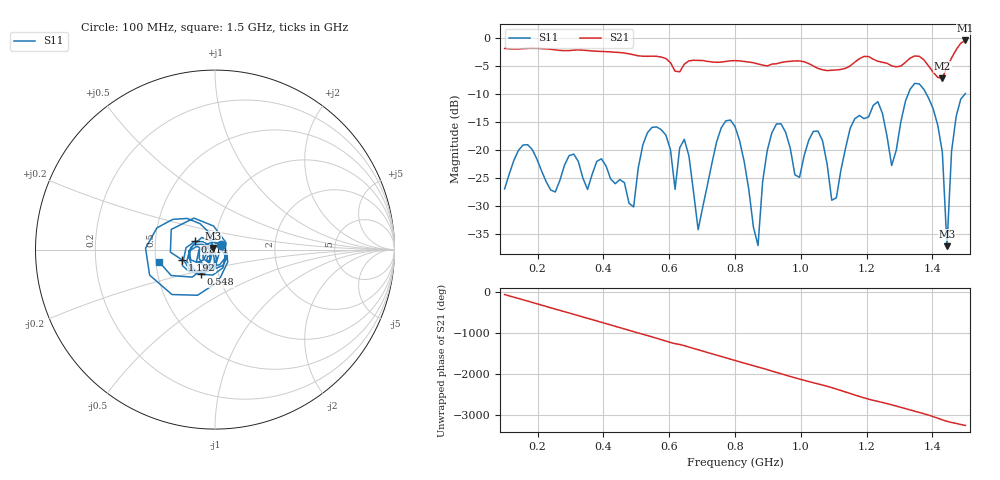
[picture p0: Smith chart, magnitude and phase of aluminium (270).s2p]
! NanoVNA-App
! Date: 2025-09-25 14:57:23
! Start: 100MHz Stop: 1,5GHz Points: 101
! S-Parameter data: F S11 S21 S12 S22
# Hz S RI R 50
!  Frequency  S11_Real  S11_Imag  S21_Real  S21_Imag  S12_Real  S12_Imag  S22_Real  S22_Imag
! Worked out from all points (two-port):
!   101 points, 100 MHz to 1.5 GHz, reference 50 ohm
!   highest |S21| = -0.50 dB at 1.5 GHz (marker M1); lowest = -7.2 dB at 1.43 GHz (marker M2)
!   |S21| within 3 dB of the highest: start of sweep to 578.4 MHz; 1.459 GHz to end of sweep (the widest 2 of 4)
!   lowest |S11| = -37.2 dB at 1.444 GHz (marker M3), VSWR 1.03, Z = 49 + j0.892 ohm
!   |S11| at or under -10 dB: start of sweep to 1.327 GHz; 1.381 GHz to 1.499 GHz (118.4 MHz wide, 8.22 % of centre)
!   S12 and S22 are empty: the file has one direction only
!   S11 on the Smith chart (normalised r, x): 100 MHz: 1.07, +0.06; 548 MHz: 0.82, -0.23; 814 MHz: 0.80, +0.07; 1.192 GHz: 0.69, -0.08; 1.5 GHz: 0.52, -0.08
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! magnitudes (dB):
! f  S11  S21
! 100 MHz  -27.0  -1.9
! 338 MHz  -25.1  -2.2
! 492 MHz  -30.2  -3.1
! 548 MHz  -16.0  -3.3
! 576 MHz  -16.4  -3.5
! 618 MHz  -27.0  -6.0
! 646 MHz  -18.1  -4.7
! 688 MHz  -34.2  -4.1
! 800 MHz  -15.8  -4.1
! 814 MHz  -18.4  -4.1
! 870 MHz  -37.1  -4.7
! 912 MHz  -17.0  -4.7
! 996 MHz  -24.9  -4.2
! 1.038 GHz  -16.7  -5.1
! 1.094 GHz  -29.0  -5.8
! 1.192 GHz  -14.4  -3.4
! 1.276 GHz  -22.8  -5.0
! 1.346 GHz  -8.2  -3.3
! 1.43 GHz  -20.4  -7.2
! 1.444 GHz  -37.2  -5.2
! 1.458 GHz  -20.3  -3.6
! 1.5 GHz  -10.0  -0.5
